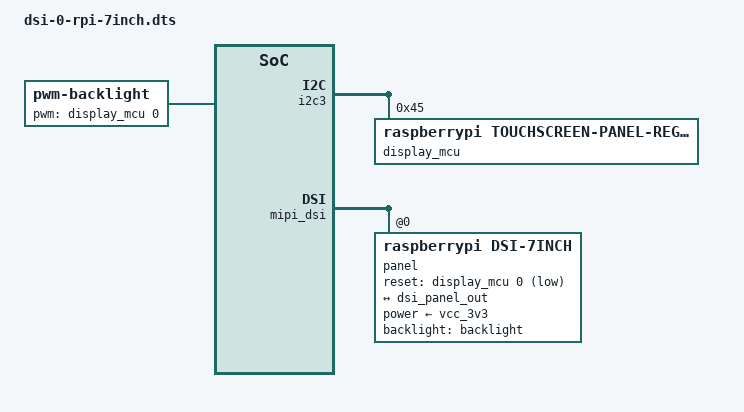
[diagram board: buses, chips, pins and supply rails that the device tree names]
// SPDX-License-Identifier: (GPL-2.0-or-later OR MIT)
/*
 * Copyright (C) 2026 Libre Computer, Inc.
 */
/*
 * Summary: Raspberry Pi Touch Display 2 on DSI connector 0
 *
 * Requires: dsi-0
 *
 * Resource-requires: bus:mipi_dsi
 * Resource-provides: i2c:i2c3@0x45, label:backlight
 *
 * Notes:
 *   The panel MCU at I2C 0x45 owns reset and the backlight PWM.
 *   Connector I2C is I2C_M3 (i2c3, GPIOA_14/15), pins 20 and 21.
 *   Power is the board VCC_3V3 on pins 22 and 23.
 *   Lane count is the raspberrypi,dsi-7inch driver descriptor (2).
 *   Pins 17 and 18 are not claimed.
 *   The base DTB enables i2c3 and muxes its pins, so fragment@0
 *   only adds the panel's devices and composes with any other
 *   overlay on the same connector bus (the camera's sensor).
 *   The V01 boards have their own copy (their DSI pins 17/18 and
 *   header I2C differ), and the AML-S905D3-CC has its own copy.
 */
/dts-v1/;
/plugin/;

#include <dt-bindings/gpio/gpio.h>

/ {
	compatible = "libre-computer,aml-a311d-cc",
		"libretech,aml-a311d-cc",
		"amlogic,a311d",
		"amlogic,g12b";

	fragment@0 {
		target = <&i2c3>;

		__overlay__ {
			display_mcu: regulator@45 {
				compatible = "raspberrypi,touchscreen-panel-regulator-v2";
				reg = <0x45>;
				gpio-controller;
				#gpio-cells = <2>;
				#pwm-cells = <3>;
			};
		};
	};

	fragment@1 {
		target-path = "/";

		__overlay__ {
			backlight: backlight {
				compatible = "pwm-backlight";
				pwms = <&display_mcu 0 200000 0>;
				brightness-levels = <0 31>;
				num-interpolated-steps = <31>;
				default-brightness-level = <15>;
			};
		};
	};

	fragment@2 {
		target = <&mipi_dsi>;

		__overlay__ {
			#address-cells = <1>;
			#size-cells = <0>;

			panel@0 {
				compatible = "raspberrypi,dsi-7inch", "ilitek,ili9881c";
				reg = <0>;
				power-supply = <&vcc_3v3>;
				reset-gpios = <&display_mcu 0 GPIO_ACTIVE_LOW>;
				backlight = <&backlight>;

				port {
					panel_in: endpoint {
						remote-endpoint = <&dsi_panel_out>;
					};
				};
			};
		};
	};

	fragment@3 {
		target = <&mipi_dsi_panel_port>;

		__overlay__ {
			dsi_panel_out: endpoint {
				remote-endpoint = <&panel_in>;
			};
		};
	};
};
